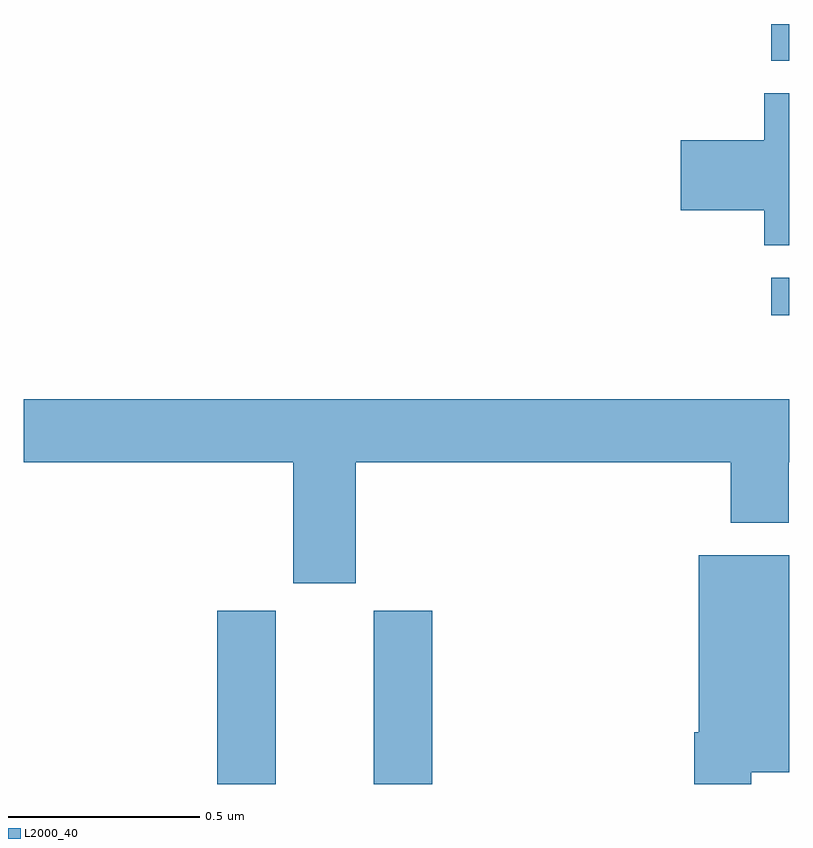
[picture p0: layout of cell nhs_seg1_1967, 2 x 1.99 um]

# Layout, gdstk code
import gdstk
lib = gdstk.Library(unit=1e-6, precision=1e-09)
def R(c, l, rs):  # rectangles x0, y0, x1, y1
    for r in rs: c.add(gdstk.rectangle(r[:2], r[2:], *l))
def P(c, l, *ps):  # polygons
    for p in ps: c.add(gdstk.Polygon(p, *l))
L2000_40 = (2000, 40)

nhs_seg1_1967 = lib.new_cell('nhs_seg1_1967')
R(nhs_seg1_1967, L2000_40, [(135.506,576.199,135.658,576.651), (135.914,576.199,136.067,576.651), (136.953,577.423,137,577.521), (136.953,578.088,137,578.184)])
P(nhs_seg1_1967, L2000_40, [(137,578.003),(136.934,578.003),(136.934,577.88),(136.716,577.88),(136.716,577.697),(136.934,577.697),(136.934,577.606),(137,577.606)],
  [(135.868,577.04),(136.847,577.04),(136.847,576.881),(136.999,576.881),(136.999,577.04),(137,577.04),(137,577.204),(135,577.204),(135,577.04),(135.704,577.04),(135.704,576.723),(135.868,576.723)],
  [(136.9,576.23),(137,576.23),(137,576.796),(136.763,576.796),(136.763,576.334),(136.751,576.334),(136.751,576.199),(136.9,576.199)])

lib.write_gds('nhs_seg1_1967.gds')
